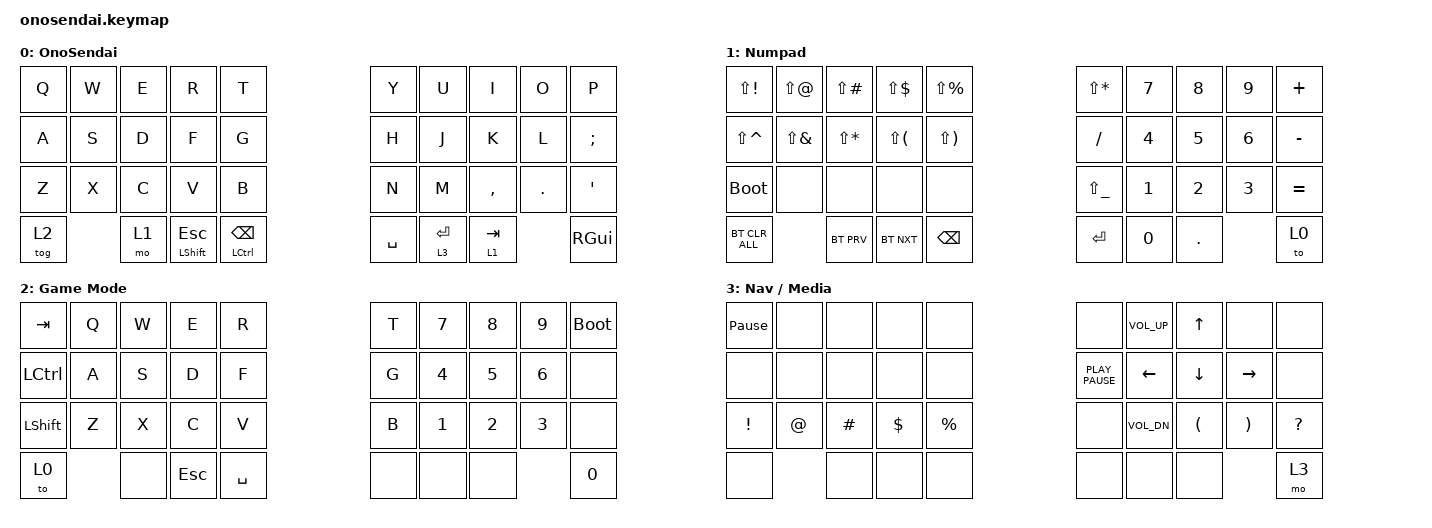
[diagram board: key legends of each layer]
/*
 * Copyright (c) 2020 The ZMK Contributors
 *
 * SPDX-License-Identifier: MIT
 */

#include <behaviors.dtsi>
#include <dt-bindings/zmk/bt.h>
#include <dt-bindings/zmk/keys.h>

/ {
    keymap {
        compatible = "zmk,keymap";

        default_layer {
            display-name = "OnoSendai";
            bindings = <
&kp Q   &kp W  &kp E  &kp R                  &kp T                       &kp Y      &kp U        &kp I      &kp O    &kp P
&kp A   &kp S  &kp D  &kp F                  &kp G                       &kp H      &kp J        &kp K      &kp L    &kp SEMI
&kp Z   &kp X  &kp C  &kp V                  &kp B                       &kp N      &kp M        &kp COMMA  &kp DOT  &kp SQT
&tog 2         &mo 1  &mt LEFT_SHIFT ESCAPE  &mt LEFT_CONTROL BACKSPACE  &kp SPACE  &lt 3 ENTER  &lt 1 TAB           &kp RIGHT_GUI
            >;
        };

        number_layer {
            display-name = "Numpad";
            bindings = <
&kp LS(EXCL)    &kp LS(AT)    &kp LS(POUND)  &kp LS(DLLR)  &kp LS(PRCNT)  &kp LS(STAR)   &kp N7  &kp N8      &kp N9  &kp PLUS
&kp LS(CARET)   &kp LS(AMPS)  &kp LS(STAR)   &kp LS(LPAR)  &kp LS(RPAR)   &kp FSLH       &kp N4  &kp N5      &kp N6  &kp MINUS
&bootloader     &none         &none          &none         &none          &kp LS(UNDER)  &kp N1  &kp N2      &kp N3  &kp EQUAL
&bt BT_CLR_ALL                &bt BT_PRV     &bt BT_NXT    &kp BSPC       &kp ENTER      &kp N0  &kp PERIOD          &to 0
            >;
        };

        gaming_layer {
            display-name = "Game Mode";
            bindings = <
&kp TAB    &kp Q  &kp W  &kp E    &kp R      &kp T  &kp N7  &kp N8  &kp N9  &bootloader
&kp LCTRL  &kp A  &kp S  &kp D    &kp F      &kp G  &kp N4  &kp N5  &kp N6  &none
&kp LSHFT  &kp Z  &kp X  &kp C    &kp V      &kp B  &kp N1  &kp N2  &kp N3  &none
&to 0             &none  &kp ESC  &kp SPACE  &none  &none   &none           &kp N0
            >;
        };

        symbol_layer {
            display-name = "Nav / Media";
            bindings = <
&kp PAUSE_BREAK  &none   &none      &none       &none        &none             &kp C_VOLUME_UP  &kp UP_ARROW          &none                  &none
&none            &none   &none      &none       &none        &kp K_PLAY_PAUSE  &kp LEFT         &kp DOWN              &kp RIGHT              &none
&kp EXCL         &kp AT  &kp POUND  &kp DOLLAR  &kp PERCENT  &none             &kp C_VOL_DN     &kp LEFT_PARENTHESIS  &kp RIGHT_PARENTHESIS  &kp QUESTION
&none                    &none      &none       &none        &none             &none            &none                                        &mo 3
            >;
        };
    };
};
